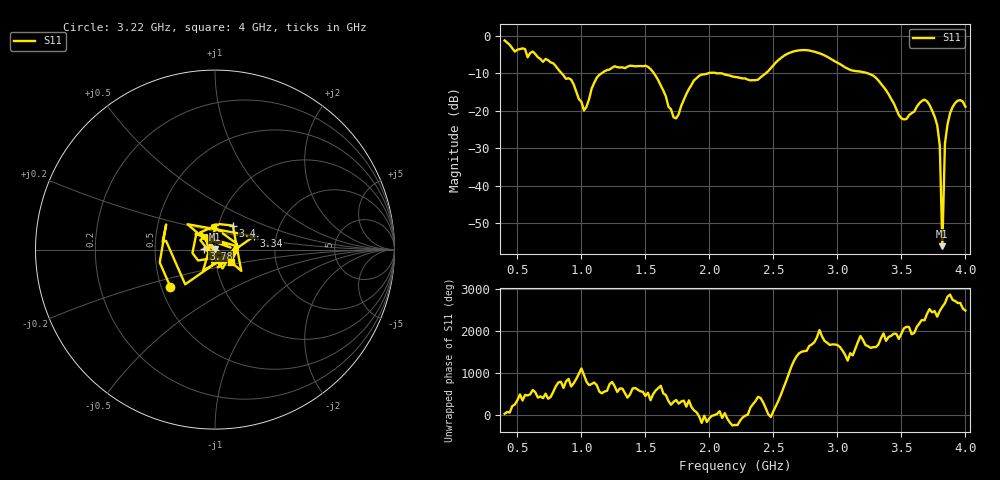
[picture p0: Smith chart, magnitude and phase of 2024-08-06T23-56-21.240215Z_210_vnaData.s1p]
!Created with skrf (http://scikit-rf.org).
# Hz S RI R 50.0
!freq ReS11 ImS11
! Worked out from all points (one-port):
!   181 points, 400 MHz to 4 GHz, reference 50 ohm
!   lowest |S11| = -56.2 dB at 3.82 GHz (marker M1), VSWR 1.00, Z = 50.1 + j0.12 ohm
!   |S11| at or under -10 dB: 1.567 GHz to 1.989 GHz (421.8 MHz wide, 23.7 % of centre); 2.092 GHz to 2.439 GHz (347.9 MHz wide, 15.4 % of centre); 3.24 GHz to end of sweep (the widest 3 of 4)
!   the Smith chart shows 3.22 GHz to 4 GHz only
!   S11 on the Smith chart (normalised r, x): 3.22 GHz: 0.56, -0.26; 3.34 GHz: 1.53, +0.24; 3.4 GHz: 1.17, +0.32; 3.78 GHz: 0.88, +0.01; 4 GHz: 1.18, -0.17
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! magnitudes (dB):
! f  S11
! 400 MHz  -1.2
! 860 MHz  -10.5
! 920 MHz  -11.7
! 1.02 GHz  -19.9
! 1.12 GHz  -11.2
! 1.3 GHz  -8.4
! 1.52 GHz  -8.2
! 1.6 GHz  -11.8
! 1.72 GHz  -21.8
! 1.76 GHz  -20.9
! 1.92 GHz  -10.6
! 2.2 GHz  -11.0
! 2.38 GHz  -11.7
! 2.66 GHz  -4.1
! 3.1 GHz  -9.1
! 3.22 GHz  -9.8
! 3.34 GHz  -12.7
! 3.4 GHz  -15.6
! 3.5 GHz  -22.0
! 3.56 GHz  -21.1
! 3.68 GHz  -17.0
! 3.78 GHz  -23.9
! 3.8 GHz  -29.3
! 3.82 GHz  -56.2
! 3.84 GHz  -28.9
! 3.86 GHz  -23.7
! 3.92 GHz  -17.9
! 4 GHz  -18.9
